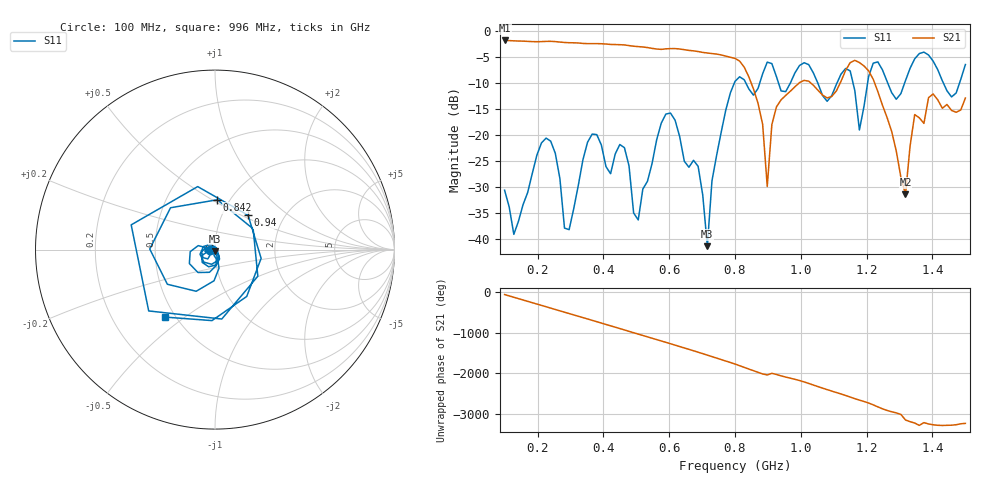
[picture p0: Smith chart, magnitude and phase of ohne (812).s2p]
! NanoVNA-App
! Date: 2025-09-25 14:27:07
! Start: 100MHz Stop: 1,5GHz Points: 101
! S-Parameter data: F S11 S21 S12 S22
# Hz S RI R 50
!  Frequency  S11_Real  S11_Imag  S21_Real  S21_Imag  S12_Real  S12_Imag  S22_Real  S22_Imag
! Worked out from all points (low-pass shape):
!   101 points, 100 MHz to 1.5 GHz, reference 50 ohm
!   highest |S21| = -1.79 dB at 100 MHz (marker M1); lowest = -31.4 dB at 1.318 GHz (marker M2)
!   |S21| within 3 dB of the highest: start of sweep to 770.7 MHz
!   lowest |S11| = -41.4 dB at 716 MHz (marker M3), VSWR 1.02, Z = 49.8 - j0.827 ohm
!   |S11| at or under -10 dB: start of sweep to 797.9 MHz; 833.1 MHz to 875.1 MHz (42.04 MHz wide, 4.92 % of centre); 1.052 GHz to 1.11 GHz (58.16 MHz wide, 5.38 % of centre) (the widest 3 of 7)
!   S12 and S22 are empty: the file has one direction only
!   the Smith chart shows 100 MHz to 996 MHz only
!   S11 on the Smith chart (normalised r, x): 100 MHz: 0.94, -0.01; 842 MHz: 0.88, +0.53; 940 MHz: 1.32, +0.55; 996 MHz: 0.44, -0.42
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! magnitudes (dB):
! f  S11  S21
! 100 MHz  -30.6  -1.8
! 128 MHz  -39.1  -1.9
! 226 MHz  -20.6  -2.0
! 296 MHz  -38.2  -2.2
! 338 MHz  -24.8  -2.4
! 464 MHz  -22.4  -2.7
! 506 MHz  -36.4  -3.0
! 576 MHz  -17.7  -3.5
! 688 MHz  -26.0  -3.9
! 716 MHz  -41.4  -4.2
! 800 MHz  -9.7  -5.2
! 842 MHz  -11.1  -8.8
! 898 MHz  -6.0  -29.9
! 940 MHz  -11.5  -13.2
! 996 MHz  -6.6  -9.9
! 1.038 GHz  -8.0  -10.4
! 1.178 GHz  -19.0  -6.1
! 1.22 GHz  -6.2  -9.3
! 1.276 GHz  -11.8  -19.3
! 1.318 GHz  -9.5  -31.4
! 1.346 GHz  -5.3  -16.1
! 1.5 GHz  -6.4  -12.9
